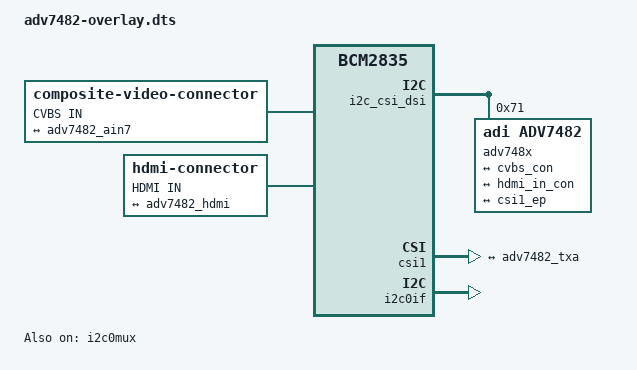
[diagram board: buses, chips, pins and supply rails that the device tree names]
// SPDX-License-Identifier: GPL-2.0-only
// Definitions for Analog Devices ADV748x HDMI to CSI2 bridge on VC I2C bus
/dts-v1/;
/plugin/;

/{
	compatible = "brcm,bcm2835";

	fragment@0 {
		target = <&i2c_csi_dsi>;
		__overlay__ {
			#address-cells = <1>;
			#size-cells = <0>;
			status = "okay";

			adv748x: adv748x@71 {
				compatible = "adi,adv7482";
				reg = <0x71 0x72 0x73 0x74 0x75 0x76
				       0x60 0x61 0x62 0x63 0x64 0x65>;
				reg-names = "main", "dpll", "cp", "hdmi", "edid", "repeater",
					    "infoframe", "cbus", "cec", "sdp", "txa", "txb";

				#address-cells = <1>;
				#size-cells = <0>;
				status = "okay";

				port@7 {
					reg = <7>;

					adv7482_ain7: endpoint {
						remote-endpoint = <&cvbs_con>;
					};
				};

				port@8 {
					reg = <8>;

					adv7482_hdmi: endpoint {
						remote-endpoint = <&hdmi_in_con>;
					};
				};

				port@a {
					reg = <10>;

					adv7482_txa: endpoint {
						clock-lanes = <0>;
						data-lanes = <1 2>;
						remote-endpoint = <&csi1_ep>;
					};
				};
			};
		};
	};

	fragment@1 {
		target = <&csi1>;
		__overlay__ {
			status = "okay";

			port {
				csi1_ep: endpoint {
					clock-lanes = <0>;
					data-lanes = <1 2>;
					remote-endpoint = <&adv7482_txa>;
				};
			};
		};
	};

	fragment@2 {
		target-path = "/";
		__overlay__ {
			cvbs-in {
				compatible = "composite-video-connector";
				label = "CVBS IN";

				port {
					cvbs_con: endpoint {
						remote-endpoint = <&adv7482_ain7>;
					};
				};
			};

			hdmi-in {
				compatible = "hdmi-connector";
				label = "HDMI IN";
				type = "a";

				port {
					hdmi_in_con: endpoint {
						remote-endpoint = <&adv7482_hdmi>;
					};
				};
			};
		};
	};

	fragment@3 {
		target = <&i2c0if>;
		__overlay__ {
			status = "okay";
		};
	};

	fragment@4 {
		target = <&i2c0mux>;
		__overlay__ {
			status = "okay";
		};
	};

	__overrides__ {
		addr =			<&adv748x>,"reg:0";
	};
};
